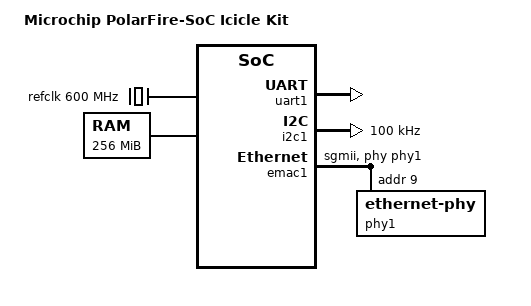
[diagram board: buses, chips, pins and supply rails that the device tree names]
/* SPDX-License-Identifier: BSD-2-Clause */

/*
 * Copyright (C) Padmarao Begari <padmarao.begari@microchip.com>
 * Copyright (C) 2022 Microchip Technology Inc.
 *
 * Redistribution and use in source and binary forms, with or without
 * modification, are permitted provided that the following conditions
 * are met:
 * 1. Redistributions of source code must retain the above copyright
 *	notice, this list of conditions and the following disclaimer.
 * 2. Redistributions in binary form must reproduce the above copyright
 *	notice, this list of conditions and the following disclaimer in the
 *	documentation and/or other materials provided with the distribution.
 *
 * THIS SOFTWARE IS PROVIDED BY THE COPYRIGHT HOLDERS AND CONTRIBUTORS "AS IS"
 * AND ANY EXPRESS OR IMPLIED WARRANTIES, INCLUDING, BUT NOT LIMITED TO, THE
 * IMPLIED WARRANTIES OF MERCHANTABILITY AND FITNESS FOR A PARTICULAR PURPOSE
 * ARE DISCLAIMED. IN NO EVENT SHALL THE COPYRIGHT OWNER OR CONTRIBUTORS BE
 * LIABLE FOR ANY DIRECT, INDIRECT, INCIDENTAL, SPECIAL, EXEMPLARY, OR
 * CONSEQUENTIAL DAMAGES (INCLUDING, BUT NOT LIMITED TO, PROCUREMENT OF
 * SUBSTITUTE GOODS OR SERVICES; LOSS OF USE, DATA, OR PROFITS; OR BUSINESS
 * INTERRUPTION) HOWEVER CAUSED AND ON ANY THEORY OF LIABILITY, WHETHER IN
 * CONTRACT, STRICT LIABILITY, OR TORT (INCLUDING NEGLIGENCE OR OTHERWISE)
 * ARISING IN ANY WAY OUT OF THE USE OF THIS SOFTWARE, EVEN IF ADVISED OF THE
 * POSSIBILITY OF SUCH DAMAGE.
 */

/dts-v1/;

/ {
	#address-cells = <2>;
	#size-cells = <2>;

	model = "Microchip PolarFire-SoC Icicle Kit";
	compatible = "microchip,mpfs-icicle-kit", "microchip,mpfs";

	aliases {
		serial1 = &uart1;
		ethernet0 = &emac1;
	};

	chosen {
		stdout-path = "serial1";
	};

	cpucomplex: cpus {
		#address-cells = <1>;
		#size-cells = <0>;

		timebase-frequency = <1000000>;

		cpu0: cpu@0 {
			clock-frequency = <0>;
			compatible = "sifive,e51", "sifive,rocket0", "riscv";
			device_type = "cpu";
			i-cache-block-size = <64>;
			i-cache-sets = <128>;
			i-cache-size = <16384>;
			reg = <0>;
			riscv,isa = "rv64imac";
			status = "disabled";
			cpu0intc: interrupt-controller {
				#interrupt-cells = <1>;
				compatible = "riscv,cpu-intc";
				interrupt-controller;
			};
		};
		cpu1: cpu@1 {
			clock-frequency = <0>;
			compatible = "sifive,u54-mc", "sifive,rocket0", "riscv";
			d-cache-block-size = <64>;
			d-cache-sets = <64>;
			d-cache-size = <32768>;
			d-tlb-sets = <1>;
			d-tlb-size = <32>;
			device_type = "cpu";
			i-cache-block-size = <64>;
			i-cache-sets = <64>;
			i-cache-size = <32768>;
			i-tlb-sets = <1>;
			i-tlb-size = <32>;
			mmu-type = "riscv,sv39";
			reg = <1>;
			riscv,isa = "rv64imafdc";
			tlb-split;
			status = "okay";
			cpu1intc: interrupt-controller {
				#interrupt-cells = <1>;
				compatible = "riscv,cpu-intc";
				interrupt-controller;
			};
		};

		cpu2: cpu@2 {
			clock-frequency = <0>;
			compatible = "sifive,u54-mc", "sifive,rocket0", "riscv";
			d-cache-block-size = <64>;
			d-cache-sets = <64>;
			d-cache-size = <32768>;
			d-tlb-sets = <1>;
			d-tlb-size = <32>;
			device_type = "cpu";
			i-cache-block-size = <64>;
			i-cache-sets = <64>;
			i-cache-size = <32768>;
			i-tlb-sets = <1>;
			i-tlb-size = <32>;
			mmu-type = "riscv,sv39";
			reg = <2>;
			riscv,isa = "rv64imafdc";
			tlb-split;
			status = "okay";
			cpu2intc: interrupt-controller {
				#interrupt-cells = <1>;
				compatible = "riscv,cpu-intc";
				interrupt-controller;
			};
		};

		cpu3: cpu@3 {
			clock-frequency = <0>;
			compatible = "sifive,u54-mc", "sifive,rocket0", "riscv";
			d-cache-block-size = <64>;
			d-cache-sets = <64>;
			d-cache-size = <32768>;
			d-tlb-sets = <1>;
			d-tlb-size = <32>;
			device_type = "cpu";
			i-cache-block-size = <64>;
			i-cache-sets = <64>;
			i-cache-size = <32768>;
			i-tlb-sets = <1>;
			i-tlb-size = <32>;
			mmu-type = "riscv,sv39";
			reg = <3>;
			riscv,isa = "rv64imafdc";
			tlb-split;
			status = "okay";
			cpu3intc: interrupt-controller {
				#interrupt-cells = <1>;
				compatible = "riscv,cpu-intc";
				interrupt-controller;
			};
		};

		cpu4: cpu@4 {
			clock-frequency = <0>;
			compatible = "sifive,u54-mc", "sifive,rocket0", "riscv";
			d-cache-block-size = <64>;
			d-cache-sets = <64>;
			d-cache-size = <32768>;
			d-tlb-sets = <1>;
			d-tlb-size = <32>;
			device_type = "cpu";
			i-cache-block-size = <64>;
			i-cache-sets = <64>;
			i-cache-size = <32768>;
			i-tlb-sets = <1>;
			i-tlb-size = <32>;
			mmu-type = "riscv,sv39";
			reg = <4>;
			riscv,isa = "rv64imafdc";
			tlb-split;
			status = "okay";
			cpu4intc: interrupt-controller {
				#interrupt-cells = <1>;
				compatible = "riscv,cpu-intc";
				interrupt-controller;
			};
		};
	};

	refclk: refclk {
		compatible = "fixed-clock";
		#clock-cells = <0>;
		clock-frequency = <600000000>;
		clock-output-names = "msspllclk";
	};

	ddr: memory@1000000000 {
		device_type = "memory";
		reg = <0x00000010 0x00000000 0x00000000 0x10000000>;
	};

	soc: soc {
		#address-cells = <2>;
		#size-cells = <2>;
		compatible = "microchip,mpfs-soc", "simple-bus";
		ranges;

		clint0: clint@2000000 {
			compatible = "riscv,clint0";
			interrupts-extended = <&cpu0intc 3 &cpu0intc 7
						&cpu1intc 3 &cpu1intc 7
						&cpu2intc 3 &cpu2intc 7
						&cpu3intc 3 &cpu3intc 7
						&cpu4intc 3 &cpu4intc 7>;
			reg = <0x0 0x2000000 0x0 0x10000>;
			reg-names = "control";
			clock-frequency = <1000000>;
		};

		cachecontroller: cache-controller@2010000 {
			compatible = "sifive,fu540-c000-ccache", "cache";
			cache-block-size = <64>;
			cache-level = <2>;
			cache-sets = <1024>;
			cache-size = <2097152>;
			cache-unified;
			interrupt-parent = <&plic>;
			interrupts = <1 2 3>;
			reg = <0x0 0x2010000 0x0 0x1000>;
		};

		plic: interrupt-controller@c000000 {
			#interrupt-cells = <1>;
			compatible = "riscv,plic0";
			reg = <0x0 0xc000000 0x0 0x4000000>;
			riscv,max-priority = <7>;
			riscv,ndev = <186>;
			interrupt-controller;
			interrupts-extended = <
				&cpu0intc 11
				&cpu1intc 11 &cpu1intc 9
				&cpu2intc 11 &cpu2intc 9
				&cpu3intc 11 &cpu3intc 9
				&cpu4intc 11 &cpu4intc 9>;
		};

		clkcfg: clkcfg@20002000 {
			compatible = "microchip,mpfs-clkcfg";
			reg = <0x0 0x20002000 0x0 0x1000>;
			reg-names = "mss_sysreg";
			clocks = <&refclk>;
			#clock-cells = <1>;
			clock-output-names = "cpu", "axi", "ahb", "envm",
					"mac0", "mac1", "mmc", "timer",
					"mmuart0", "mmuart1", "mmuart2",
					"mmuart3", "mmuart4", "spi0", "spi1",
					"i2c0", "i2c1", "can0", "can1", "usb",
					"reserved", "rtc", "qspi", "gpio0",
					"gpio1", "gpio2", "ddrc", "fic0",
					"fic1", "fic2", "fic3", "athena",
					"cfm";
		};

		/* Common node entry for eMMC/SD */
		mmc: mmc@20008000 {
			compatible = "microchip,mpfs-sd4hc","cdns,sd4hc";
			reg = <0x0 0x20008000 0x0 0x1000>;
			clocks = <&clkcfg 6>;
			interrupt-parent = <&plic>;
			interrupts = <88 89>;
			max-frequency = <200000000>;
			bus-width = <4>;
			disable-wp;
			cap-mmc-highspeed;
			cap-sd-highspeed;
			card-detect-delay = <200>;
			mmc-ddr-1_8v;
			mmc-hs200-1_8v;
			sd-uhs-sdr12;
			sd-uhs-sdr25;
			sd-uhs-sdr50;
			sd-uhs-sdr104;
			status = "disabled";
		};

		uart1: serial@20100000 {
			compatible = "ns16550a";
			reg = <0x0 0x20100000 0x0 0x400>;
			reg-io-width = <4>;
			reg-shift = <2>;
			interrupt-parent = <&plic>;
			interrupts = <91>;
			clock-frequency = <150000000>;
			clocks = <&clkcfg 9>;
			status = "okay";
		};

		spi0: spi@20108000 {
			compatible = "microchip,mpfs-spi";
			reg = <0x0 0x20108000 0x0 0x1000>;
			clocks = <&clkcfg 13>;
			interrupt-parent = <&plic>;
			interrupts = <54>;
			#address-cells = <1>;
			#size-cells = <0>;
			status = "disabled";
		};

		i2c1: i2c@2010b000 {
			#address-cells = <1>;
			#size-cells = <0>;
			compatible = "microchip,mpfs-i2c";
			reg = <0x0 0x2010b000 0x0 0x1000>;
			interrupt-parent = <&plic>;
			interrupts = <61>;
			clocks = <&clkcfg 16>;
			clock-frequency = <100000>;
			status = "okay";
			pac193x@10 {
				compatible = "microchip,pac1934";
				reg = <0x10>;
				samp-rate = <64>;
				status = "disabled";
				ch1: channel0 {
					uohms-shunt-res = <10000>;
					rail-name = "VDD";
					channel_enabled;
				};
				ch2: channel1 {
					uohms-shunt-res = <10000>;
					rail-name = "VDDA25";
					channel_enabled;
				};
				ch3: channel2 {
					uohms-shunt-res = <10000>;
					rail-name = "VDD25";
					channel_enabled;
				};
				ch4: channel3 {
					uohms-shunt-res = <10000>;
					rail-name = "VDDA";
					channel_enabled;
				};
			};
		};

		emac1: ethernet@20112000 {
			compatible = "microchip,mpfs-macb","cdns,gem";
			reg = <0x0 0x20112000 0x0 0x2000>;
			interrupt-parent = <&plic>;
			interrupts = <70 71 72 73>;
			local-mac-address = [00 04 A3 00 00 02];
			phy-mode = "sgmii";
			clocks = <&clkcfg 5>, <&clkcfg 1>;
			clock-names = "pclk", "hclk";
			clock-frequency = <150000000>;
			status = "okay";

			#address-cells = <1>;
			#size-cells = <0>;
			phy-handle = <&phy1>;
			phy1: ethernet-phy@9 {
				reg = <9>;
			};
		};

		gpio: gpio@20122000 {
			compatible = "microchip,mpfs-gpio";
			interrupt-parent = <&plic>;
			interrupts = <13 14 15 16 17 18 19 20 21 22 23 24 25 26
					27 28 29 30 31 32 33 34 35 36 37 38 39
					40 41 42 43 44>;
			gpio-controller;
			clocks = <&clkcfg 25>;
			reg = <0x00 0x20122000 0x0 0x1000>;
			reg-names = "control";
			#gpio-cells = <2>;
			status = "disabled";
		};
	};
};
